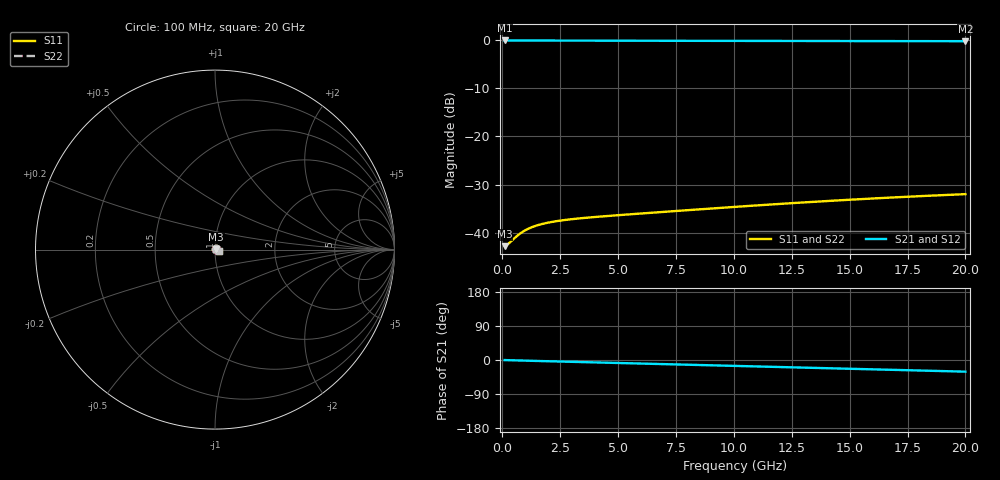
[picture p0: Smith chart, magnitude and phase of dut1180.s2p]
! Touchstone file exported from HFSS 2026.1.0
!  File:  C:/ffzhzh/LocalFiles/Ansys_Project_Files/temp_train_TMRDL_1180_1783162633_43440.aedt
!  Generated:  06:58:24 PM Jul  4, 2026
!  Design:  TMRDL
!  Project:  temp_train_TMRDL_1180_1783162633_43440
! Variables:
!  h_bsmrdl = 2um
!  h_ox = 20um
!  h_rdl = 5um
!  h_sub = 80um
!  h_tmrdl = 2.01um
!  h_tsv = 80um
!  h_via = 3um
!  l_bsmrdl = 300um
!  l_sub = 951.01um
!  l_tmrdl = 551.01um
!  m_sub = 200um
!  pitch = 16.03um
!  r_tsv = 6um
!  s_tmrdl = 10um
!  w_bsmrdl = 18um
!  w_sub = 500um
!  w_tmrdl = 13.73um
!  x_tsv_center1 = 557.875um
!  x_tsv_center2 = 875.875um
!  x_tsv_center3 = 1440.615um
!  x_tsv_center4 = 1758.615um
!  x_tsv_center5 = 2323.355um
!  x_tsv_center6 = 2641.355um
# GHz S MA R 50.000000
! Terminal data exported
! Port[1] = TM_RDL1_1_T1
! Port[2] = TM_RDL1_1_T2
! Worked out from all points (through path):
!   200 points, 100 MHz to 20 GHz, reference 50 ohm
!   highest |S21| = -0.06 dB at 100 MHz (marker M1); lowest = -0.2 dB at 20 GHz (marker M2)
!   group delay of S21, straight-line fit = 4.25 ps
!   lowest |S11| = -42.8 dB at 100 MHz (marker M3), VSWR 1.01, Z = 50.7 + j0.0626 ohm
!   |S11| at or under -10 dB: start of sweep to end of sweep
!   |S22| runs from -42.8 to -32.1 dB; largest |S21 - S12| = 5.3e-15
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0.1  0.007273 4.9  0.9928 -0.2  0.9928 -0.2  0.007273 4.9
! Gamma 0 0 0 0
! Port Impedance 50 0 50 0
0.2  0.0075 9.2  0.9926 -0.4  0.9926 -0.4  0.0075 9.2
0.3  0.007839 12.8  0.9924 -0.6  0.9924 -0.6  0.007839 12.8
0.6  0.009128 18.5  0.9914 -1.1  0.9914 -1.1  0.009126 18.5
0.7  0.009554 19.2  0.991 -1.3  0.991 -1.3  0.00955 19.2
0.8  0.009953 19.6  0.9907 -1.4  0.9907 -1.4  0.009948 19.6
0.9  0.01032 19.7  0.9903 -1.6  0.9903 -1.6  0.01032 19.7
1.1  0.01097 19.5  0.9897 -1.9  0.9897 -1.9  0.01096 19.5
1.2  0.01125 19.3  0.9894 -2.1  0.9894 -2.1  0.01124 19.3
1.4  0.01174 18.7  0.989 -2.4  0.989 -2.4  0.01173 18.7
1.6  0.01215 18.1  0.9885 -2.7  0.9885 -2.7  0.01214 18.1
1.8  0.0125 17.5  0.9882 -3.0  0.9882 -3.0  0.01249 17.5
2.2  0.01306 16.3  0.9877 -3.6  0.9877 -3.6  0.01306 16.4
2.8  0.01369 15.0  0.9871 -4.5  0.9871 -4.5  0.01368 15.0
3.5  0.01425 13.9  0.9865 -5.6  0.9865 -5.6  0.01425 13.9
4.7  0.01506 12.5  0.9858 -7.4  0.9858 -7.4  0.01504 12.6
6.8  0.0164 10.7  0.9846 -10.6  0.9846 -10.6  0.01635 10.8
10.1  0.01864 7.1  0.9826 -15.7  0.9826 -15.7  0.01853 7.2
13.4  0.02096 1.8  0.9803 -20.8  0.9803 -20.8  0.02077 2.0
15.1  0.02213 -1.4  0.979 -23.3  0.979 -23.3  0.02189 -1.2
16.7  0.02319 -4.7  0.9777 -25.8  0.9777 -25.8  0.02289 -4.5
20  0.02522 -12.0  0.9751 -30.8  0.9751 -30.8  0.02478 -11.7
